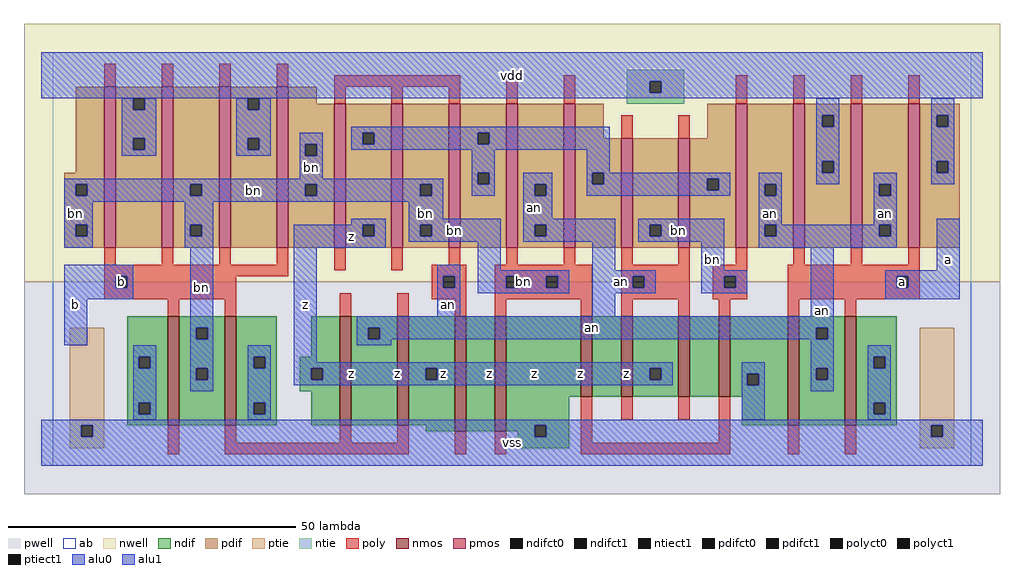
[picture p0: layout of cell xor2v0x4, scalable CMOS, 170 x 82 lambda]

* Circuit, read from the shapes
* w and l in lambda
.subckt xor2v0x4 a an b bn vdd vss z
M1 bn b vss vss nfet w=19 l=2 m=2
M2 an b z vss nfet w=19 l=2 m=2
M3 n1 an z vss nfet w=20 l=2
M4 vss bn n1 vss nfet w=20 l=2
M5 n2 bn vss vss nfet w=14 l=2
M6 z an n2 vss nfet w=14 l=2
M7 n3 an z vss nfet w=14 l=2
M8 vss bn n3 vss nfet w=14 l=2
M9 an a vss vss nfet w=19 l=2 m=2
M10 vdd b bn vdd pfet w=28 l=2 m=4
M11 z an bn vdd pfet w=25 l=2 m=3
M12 an bn z vdd pfet w=25 l=2 m=3
M13 bn an z vdd pfet w=19 l=2 m=2
M14 vdd a an vdd pfet w=25 l=2 m=3
.ends

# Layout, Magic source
magic
tech scmos
<< ab >>
rect 0 0 160 72
<< nwell >>
rect -5 32 165 77
<< pwell >>
rect -5 -5 165 32
<< poly >>
rect 9 66 11 70
rect 19 66 21 70
rect 29 66 31 70
rect 39 66 41 70
rect 49 66 71 68
rect 49 63 51 66
rect 59 63 61 66
rect 69 63 71 66
rect 79 63 81 68
rect 89 63 91 68
rect 119 63 121 68
rect 129 63 131 68
rect 139 63 141 68
rect 149 63 151 68
rect 99 57 101 61
rect 109 57 111 61
rect 9 35 11 38
rect 19 35 21 38
rect 29 35 31 38
rect 39 35 41 38
rect 9 33 41 35
rect 49 34 51 38
rect 59 34 61 38
rect 69 35 71 38
rect 79 35 81 38
rect 89 35 91 38
rect 99 35 101 38
rect 109 35 111 38
rect 119 35 121 38
rect 129 35 131 38
rect 139 35 141 38
rect 149 35 151 38
rect 66 33 72 35
rect 9 31 11 33
rect 13 31 32 33
rect 9 29 32 31
rect 66 31 68 33
rect 70 31 72 33
rect 20 26 22 29
rect 30 26 32 29
rect 50 26 52 30
rect 60 26 62 30
rect 66 29 72 31
rect 70 26 72 29
rect 77 33 94 35
rect 77 31 79 33
rect 81 31 86 33
rect 88 31 94 33
rect 77 29 94 31
rect 77 26 79 29
rect 92 26 94 29
rect 99 33 111 35
rect 99 31 101 33
rect 103 31 111 33
rect 99 29 111 31
rect 115 33 121 35
rect 115 31 117 33
rect 119 31 121 33
rect 115 29 121 31
rect 128 33 151 35
rect 128 31 147 33
rect 149 31 151 33
rect 128 29 151 31
rect 99 26 101 29
rect 109 26 111 29
rect 116 26 118 29
rect 128 26 130 29
rect 138 26 140 29
rect 20 2 22 7
rect 30 4 32 7
rect 50 4 52 7
rect 60 4 62 7
rect 30 2 62 4
rect 70 2 72 6
rect 77 2 79 6
rect 92 4 94 12
rect 99 8 101 12
rect 109 8 111 12
rect 116 4 118 12
rect 92 2 118 4
rect 128 2 130 7
rect 138 2 140 7
<< ndif >>
rect 13 19 20 26
rect 13 17 15 19
rect 17 17 20 19
rect 13 11 20 17
rect 13 9 15 11
rect 17 9 20 11
rect 13 7 20 9
rect 22 24 30 26
rect 22 22 25 24
rect 27 22 30 24
rect 22 17 30 22
rect 22 15 25 17
rect 27 15 30 17
rect 22 7 30 15
rect 32 19 39 26
rect 45 19 50 26
rect 32 17 35 19
rect 37 17 39 19
rect 32 11 39 17
rect 43 17 50 19
rect 43 15 45 17
rect 47 15 50 17
rect 43 13 50 15
rect 32 9 35 11
rect 37 9 39 11
rect 32 7 39 9
rect 45 7 50 13
rect 52 24 60 26
rect 52 22 55 24
rect 57 22 60 24
rect 52 7 60 22
rect 62 17 70 26
rect 62 15 65 17
rect 67 15 70 17
rect 62 7 70 15
rect 65 6 70 7
rect 72 6 77 26
rect 79 12 92 26
rect 94 12 99 26
rect 101 17 109 26
rect 101 15 104 17
rect 106 15 109 17
rect 101 12 109 15
rect 111 12 116 26
rect 118 16 128 26
rect 118 14 121 16
rect 123 14 128 16
rect 118 12 128 14
rect 79 7 90 12
rect 79 6 84 7
rect 81 5 84 6
rect 86 5 90 7
rect 81 3 90 5
rect 120 7 128 12
rect 130 24 138 26
rect 130 22 133 24
rect 135 22 138 24
rect 130 17 138 22
rect 130 15 133 17
rect 135 15 138 17
rect 130 7 138 15
rect 140 19 147 26
rect 140 17 143 19
rect 145 17 147 19
rect 140 11 147 17
rect 140 9 143 11
rect 145 9 147 11
rect 140 7 147 9
<< pdif >>
rect 4 51 9 66
rect 2 49 9 51
rect 2 47 4 49
rect 6 47 9 49
rect 2 42 9 47
rect 2 40 4 42
rect 6 40 9 42
rect 2 38 9 40
rect 11 64 19 66
rect 11 62 14 64
rect 16 62 19 64
rect 11 57 19 62
rect 11 55 14 57
rect 16 55 19 57
rect 11 38 19 55
rect 21 49 29 66
rect 21 47 24 49
rect 26 47 29 49
rect 21 42 29 47
rect 21 40 24 42
rect 26 40 29 42
rect 21 38 29 40
rect 31 64 39 66
rect 31 62 34 64
rect 36 62 39 64
rect 31 57 39 62
rect 31 55 34 57
rect 36 55 39 57
rect 31 38 39 55
rect 41 63 46 66
rect 41 56 49 63
rect 41 54 44 56
rect 46 54 49 56
rect 41 49 49 54
rect 41 47 44 49
rect 46 47 49 49
rect 41 38 49 47
rect 51 58 59 63
rect 51 56 54 58
rect 56 56 59 58
rect 51 42 59 56
rect 51 40 54 42
rect 56 40 59 42
rect 51 38 59 40
rect 61 49 69 63
rect 61 47 64 49
rect 66 47 69 49
rect 61 42 69 47
rect 61 40 64 42
rect 66 40 69 42
rect 61 38 69 40
rect 71 58 79 63
rect 71 56 74 58
rect 76 56 79 58
rect 71 51 79 56
rect 71 49 74 51
rect 76 49 79 51
rect 71 38 79 49
rect 81 49 89 63
rect 81 47 84 49
rect 86 47 89 49
rect 81 42 89 47
rect 81 40 84 42
rect 86 40 89 42
rect 81 38 89 40
rect 91 57 96 63
rect 114 57 119 63
rect 91 51 99 57
rect 91 49 94 51
rect 96 49 99 51
rect 91 38 99 49
rect 101 42 109 57
rect 101 40 104 42
rect 106 40 109 42
rect 101 38 109 40
rect 111 50 119 57
rect 111 48 114 50
rect 116 48 119 50
rect 111 38 119 48
rect 121 49 129 63
rect 121 47 124 49
rect 126 47 129 49
rect 121 42 129 47
rect 121 40 124 42
rect 126 40 129 42
rect 121 38 129 40
rect 131 61 139 63
rect 131 59 134 61
rect 136 59 139 61
rect 131 53 139 59
rect 131 51 134 53
rect 136 51 139 53
rect 131 38 139 51
rect 141 49 149 63
rect 141 47 144 49
rect 146 47 149 49
rect 141 42 149 47
rect 141 40 144 42
rect 146 40 149 42
rect 141 38 149 40
rect 151 61 158 63
rect 151 59 154 61
rect 156 59 158 61
rect 151 53 158 59
rect 151 51 154 53
rect 156 51 158 53
rect 151 38 158 51
<< alu1 >>
rect -2 67 162 72
rect -2 65 104 67
rect 106 65 162 67
rect -2 64 162 65
rect 52 42 58 43
rect 2 33 14 35
rect 2 31 11 33
rect 13 31 14 33
rect 2 29 14 31
rect 2 21 6 29
rect 42 40 54 42
rect 56 40 58 42
rect 42 38 58 40
rect 42 18 46 38
rect 154 34 158 43
rect 145 33 158 34
rect 145 31 147 33
rect 149 31 158 33
rect 145 29 158 31
rect 42 17 108 18
rect 42 15 45 17
rect 47 15 65 17
rect 67 15 104 17
rect 106 15 108 17
rect 42 14 108 15
rect -2 7 162 8
rect -2 5 5 7
rect 7 5 84 7
rect 86 5 153 7
rect 155 5 162 7
rect -2 0 162 5
<< ptie >>
rect 3 7 9 24
rect 3 5 5 7
rect 7 5 9 7
rect 3 3 9 5
rect 151 7 157 24
rect 151 5 153 7
rect 155 5 157 7
rect 151 3 157 5
<< ntie >>
rect 100 67 110 69
rect 100 65 104 67
rect 106 65 110 67
rect 100 63 110 65
<< nmos >>
rect 20 7 22 26
rect 30 7 32 26
rect 50 7 52 26
rect 60 7 62 26
rect 70 6 72 26
rect 77 6 79 26
rect 92 12 94 26
rect 99 12 101 26
rect 109 12 111 26
rect 116 12 118 26
rect 128 7 130 26
rect 138 7 140 26
<< pmos >>
rect 9 38 11 66
rect 19 38 21 66
rect 29 38 31 66
rect 39 38 41 66
rect 49 38 51 63
rect 59 38 61 63
rect 69 38 71 63
rect 79 38 81 63
rect 89 38 91 63
rect 99 38 101 57
rect 109 38 111 57
rect 119 38 121 63
rect 129 38 131 63
rect 139 38 141 63
rect 149 38 151 63
<< polyct0 >>
rect 68 31 70 33
rect 79 31 81 33
rect 86 31 88 33
rect 101 31 103 33
rect 117 31 119 33
<< polyct1 >>
rect 11 31 13 33
rect 147 31 149 33
<< ndifct0 >>
rect 15 17 17 19
rect 15 9 17 11
rect 25 22 27 24
rect 25 15 27 17
rect 35 17 37 19
rect 35 9 37 11
rect 55 22 57 24
rect 121 14 123 16
rect 133 22 135 24
rect 133 15 135 17
rect 143 17 145 19
rect 143 9 145 11
<< ndifct1 >>
rect 45 15 47 17
rect 65 15 67 17
rect 104 15 106 17
rect 84 5 86 7
<< ntiect1 >>
rect 104 65 106 67
<< ptiect1 >>
rect 5 5 7 7
rect 153 5 155 7
<< pdifct0 >>
rect 4 47 6 49
rect 4 40 6 42
rect 14 62 16 64
rect 14 55 16 57
rect 24 47 26 49
rect 24 40 26 42
rect 34 62 36 64
rect 34 55 36 57
rect 44 54 46 56
rect 44 47 46 49
rect 54 56 56 58
rect 64 47 66 49
rect 64 40 66 42
rect 74 56 76 58
rect 74 49 76 51
rect 84 47 86 49
rect 84 40 86 42
rect 94 49 96 51
rect 104 40 106 42
rect 114 48 116 50
rect 124 47 126 49
rect 124 40 126 42
rect 134 59 136 61
rect 134 51 136 53
rect 144 47 146 49
rect 144 40 146 42
rect 154 59 156 61
rect 154 51 156 53
<< pdifct1 >>
rect 54 40 56 42
<< alu0 >>
rect 12 62 14 64
rect 16 62 18 64
rect 12 57 18 62
rect 12 55 14 57
rect 16 55 18 57
rect 12 54 18 55
rect 32 62 34 64
rect 36 62 38 64
rect 32 57 38 62
rect 133 61 137 64
rect 133 59 134 61
rect 136 59 137 61
rect 52 58 97 59
rect 32 55 34 57
rect 36 55 38 57
rect 32 54 38 55
rect 43 56 47 58
rect 43 54 44 56
rect 46 54 47 56
rect 52 56 54 58
rect 56 56 74 58
rect 76 56 97 58
rect 52 55 97 56
rect 43 50 47 54
rect 73 51 77 55
rect 93 51 97 55
rect 133 53 137 59
rect 133 51 134 53
rect 136 51 137 53
rect 153 61 157 64
rect 153 59 154 61
rect 156 59 157 61
rect 153 53 157 59
rect 153 51 154 53
rect 156 51 157 53
rect 2 49 68 50
rect 2 47 4 49
rect 6 47 24 49
rect 26 47 44 49
rect 46 47 64 49
rect 66 47 68 49
rect 73 49 74 51
rect 76 49 77 51
rect 73 47 77 49
rect 82 49 87 51
rect 82 47 84 49
rect 86 47 87 49
rect 93 49 94 51
rect 96 50 118 51
rect 96 49 114 50
rect 93 48 114 49
rect 116 48 118 50
rect 93 47 118 48
rect 123 49 127 51
rect 133 49 137 51
rect 143 49 147 51
rect 153 49 157 51
rect 123 47 124 49
rect 126 47 127 49
rect 2 46 68 47
rect 2 42 7 46
rect 2 40 4 42
rect 6 40 7 42
rect 2 38 7 40
rect 23 42 28 46
rect 62 43 68 46
rect 82 43 87 47
rect 23 40 24 42
rect 26 40 28 42
rect 23 38 28 40
rect 24 24 28 38
rect 24 22 25 24
rect 27 22 28 24
rect 14 19 18 21
rect 14 17 15 19
rect 17 17 18 19
rect 14 11 18 17
rect 24 17 28 22
rect 62 42 78 43
rect 62 40 64 42
rect 66 40 78 42
rect 62 39 78 40
rect 82 42 98 43
rect 82 40 84 42
rect 86 40 98 42
rect 82 39 98 40
rect 102 42 117 43
rect 102 40 104 42
rect 106 40 117 42
rect 102 39 117 40
rect 24 15 25 17
rect 27 15 28 17
rect 24 13 28 15
rect 34 19 38 21
rect 34 17 35 19
rect 37 17 38 19
rect 14 9 15 11
rect 17 9 18 11
rect 14 8 18 9
rect 34 11 38 17
rect 67 33 71 35
rect 67 31 68 33
rect 70 31 71 33
rect 67 26 71 31
rect 74 34 78 39
rect 94 34 98 39
rect 113 34 117 39
rect 123 42 127 47
rect 143 47 144 49
rect 146 47 147 49
rect 143 42 147 47
rect 123 40 124 42
rect 126 40 144 42
rect 146 40 147 42
rect 123 38 147 40
rect 74 33 90 34
rect 74 31 79 33
rect 81 31 86 33
rect 88 31 90 33
rect 74 30 90 31
rect 94 33 105 34
rect 94 31 101 33
rect 103 31 105 33
rect 94 30 105 31
rect 113 33 121 34
rect 113 31 117 33
rect 119 31 121 33
rect 113 30 121 31
rect 94 26 98 30
rect 132 26 136 38
rect 53 24 136 26
rect 53 22 55 24
rect 57 22 133 24
rect 135 22 136 24
rect 53 21 59 22
rect 120 16 124 18
rect 120 14 121 16
rect 123 14 124 16
rect 34 9 35 11
rect 37 9 38 11
rect 34 8 38 9
rect 120 8 124 14
rect 132 17 136 22
rect 132 15 133 17
rect 135 15 136 17
rect 132 13 136 15
rect 142 19 146 21
rect 142 17 143 19
rect 145 17 146 19
rect 142 11 146 17
rect 142 9 143 11
rect 145 9 146 11
rect 142 8 146 9
<< labels >>
rlabel alu0 4 44 4 44 6 bn
rlabel alu0 26 31 26 31 6 bn
rlabel alu0 69 28 69 28 6 an
rlabel alu0 35 48 35 48 6 bn
rlabel alu0 65 44 65 44 6 bn
rlabel alu0 70 41 70 41 6 bn
rlabel alu0 45 52 45 52 6 bn
rlabel alu0 82 32 82 32 6 bn
rlabel alu0 99 32 99 32 6 an
rlabel alu0 115 36 115 36 6 bn
rlabel alu0 84 45 84 45 6 an
rlabel alu0 109 41 109 41 6 bn
rlabel alu0 94 24 94 24 6 an
rlabel alu0 125 44 125 44 6 an
rlabel alu0 145 44 145 44 6 an
rlabel alu0 134 27 134 27 6 an
rlabel alu1 4 28 4 28 6 b
rlabel polyct1 12 32 12 32 6 b
rlabel alu1 52 16 52 16 6 z
rlabel alu1 60 16 60 16 6 z
rlabel alu1 68 16 68 16 6 z
rlabel alu1 76 16 76 16 6 z
rlabel alu1 44 28 44 28 6 z
rlabel alu1 52 40 52 40 6 z
rlabel alu1 80 4 80 4 6 vss
rlabel alu1 100 16 100 16 6 z
rlabel alu1 92 16 92 16 6 z
rlabel alu1 84 16 84 16 6 z
rlabel alu1 80 68 80 68 6 vdd
rlabel polyct1 148 32 148 32 6 a
rlabel alu1 156 36 156 36 6 a
<< end >>
